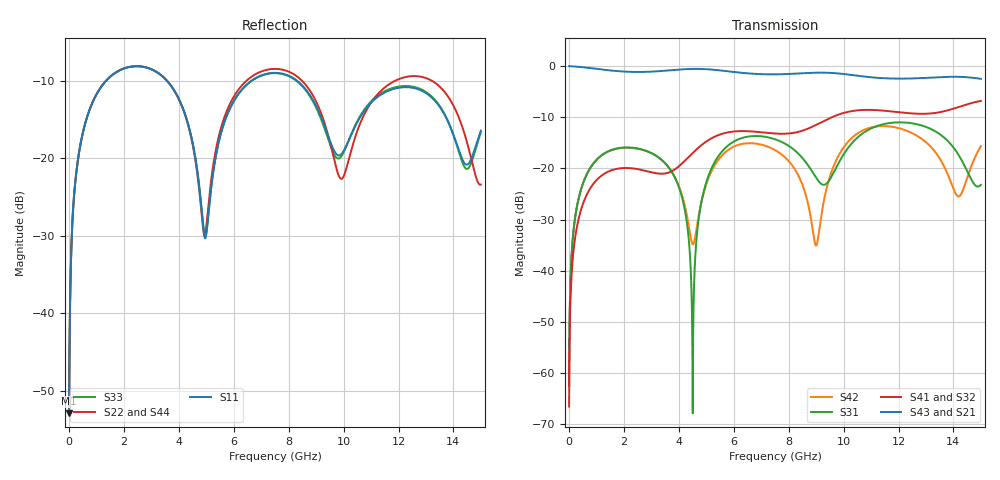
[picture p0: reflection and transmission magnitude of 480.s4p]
! Created with skrf 1.8.0 (http://scikit-rf.org).
# GHz S RI R 50.0
!freq ReS11 ImS11 ReS12 ImS12 ReS13 ImS13
! ReS14 ImS14
! ReS21 ImS21 ReS22 ImS22 ReS23 ImS23
! ReS24 ImS24
! ReS31 ImS31 ReS32 ImS32 ReS33 ImS33
! ReS34 ImS34
! ReS41 ImS41 ReS42 ImS42 ReS43 ImS43
! ReS44 ImS44
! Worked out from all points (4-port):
!   2499 points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, 5 MHz to 15 GHz, reference 50 ohm
!   strongest paths, dB at 5 MHz, 3.476 GHz, 7.19 GHz, 11.1 GHz, 15 GHz:
!     S43: 0.0, -0.9, -1.6, -2.2, -2.5
!     S21: 0.0, -0.9, -1.6, -2.2, -2.5
!     S41: -66.6, -21.0, -13.0, -8.6, -6.8
!     S32: -66.6, -21.0, -13.1, -8.6, -6.8
!     S31: -62.5, -18.8, -13.9, -12.0, -23.2
!     S42: -62.5, -18.9, -15.7, -11.9, -15.6
!   lowest |S11| = -52.9 dB at 5 MHz (marker M1), VSWR 1.00, Z = 50.2 + j0.138 ohm
!   |S11| at or under -10 dB: start of sweep to 1.357 GHz; 3.563 GHz to 6.656 GHz (3.093 GHz wide, 60.5 % of centre); 8.298 GHz to end of sweep
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0.005  0.00181 0.00137  0.9982 -0.00352  9.23e-05 0.000741  -8.95e-05 -0.000461
       0.9982 -0.00352  0.00181 0.00137  -8.95e-05 -0.000461  9.23e-05 0.000741
       9.23e-05 0.000741  -8.95e-05 -0.000461  0.00181 0.00137  0.9982 -0.00352
       -8.95e-05 -0.000461  9.23e-05 0.000741  0.9982 -0.00352  0.00181 0.00137
0.4126719  0.0439 0.113  0.9387 -0.2824  0.0223 0.0545  -0.0182 -0.0326
           0.9387 -0.2824  0.044 0.113  -0.0182 -0.0326  0.0221 0.0546
           0.0223 0.0545  -0.0182 -0.0326  0.0439 0.113  0.9387 -0.2824
           -0.0182 -0.0326  0.0221 0.0546  0.9387 -0.2824  0.0439 0.113
1.925802  0.3581 0.1071  0.2992 -0.8347  0.158 0.0203  -0.0941 0.0354
          0.2992 -0.8347  0.3588 0.106  -0.094 0.0351  0.1569 0.0234
          0.158 0.0203  -0.094 0.0351  0.3582 0.107  0.2992 -0.8346
          -0.0941 0.0354  0.1569 0.0234  0.2992 -0.8346  0.3588 0.1062
4.501876  0.061 -0.1094  -0.8744 -0.3412  -8.37e-05 -0.000532  -0.0465 0.1333
          -0.8744 -0.3412  0.0604 -0.107  -0.0479 0.1328  -0.0172 -0.00585
          -8.37e-05 -0.000532  -0.0479 0.1328  0.0618 -0.1099  -0.8743 -0.3415
          -0.0465 0.1333  -0.0172 -0.00585  -0.8743 -0.3415  0.0601 -0.1077
5.63985  0.1053 0.1299  -0.8321 0.3384  0.1157 0.1004  0.111 0.1902
         -0.8321 0.3384  0.1159 0.1369  0.1088 0.1909  0.0755 0.1176
         0.1157 0.1004  0.1088 0.1909  0.1062 0.1283  -0.8326 0.338
         0.111 0.1902  0.0755 0.1176  -0.8326 0.338  0.1137 0.136
9.954148  0.1075 0.0104  0.8324 0.1078  -0.012 0.1301  0.03 -0.344
          0.8324 0.1078  0.0741 -0.00338  0.0377 -0.3435  0.0101 0.1535
          -0.012 0.1301  0.0377 -0.3435  0.104 0.0155  0.8327 0.106
          0.03 -0.344  0.0101 0.1535  0.8327 0.106  0.076 0.000324
15  0.1199 0.0911  -0.7366 -0.1445  -0.0423 0.0546  -0.0612 0.4527
    -0.7366 -0.1445  0.067 -0.00909  -0.0763 0.4503  0.1015 0.1302
    -0.0423 0.0546  -0.0763 0.4503  0.1156 0.0914  -0.7369 -0.1436
    -0.0612 0.4527  0.1015 0.1302  -0.7369 -0.1436  0.068 -0.0105
